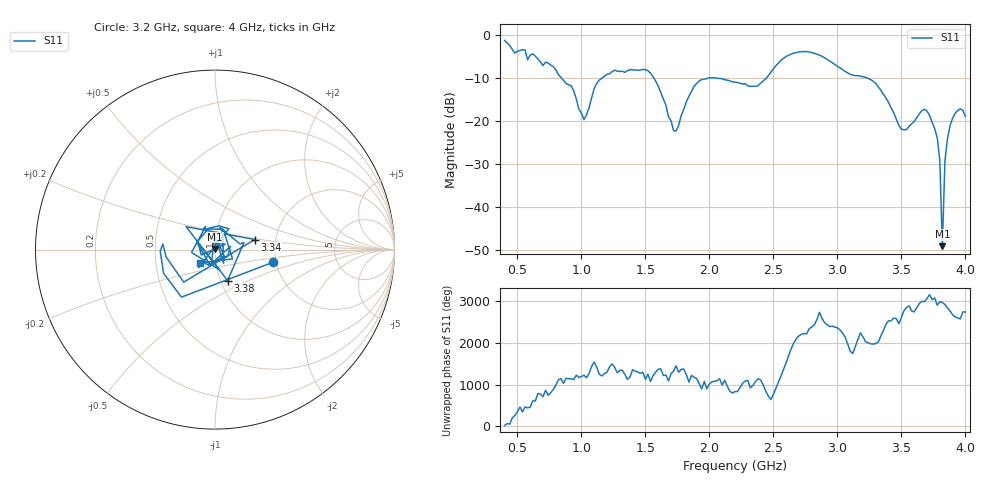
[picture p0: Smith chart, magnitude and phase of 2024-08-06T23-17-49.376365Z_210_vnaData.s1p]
!Created with skrf (http://scikit-rf.org).
# Hz S RI R 50.0
!freq ReS11 ImS11
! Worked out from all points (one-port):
!   181 points, 400 MHz to 4 GHz, reference 50 ohm
!   lowest |S11| = -49.0 dB at 3.82 GHz (marker M1), VSWR 1.01, Z = 50 + j0.354 ohm
!   |S11| at or under -10 dB: 1.567 GHz to 1.987 GHz (419.4 MHz wide, 23.6 % of centre); 2.063 GHz to 2.442 GHz (379.1 MHz wide, 16.8 % of centre); 3.238 GHz to end of sweep (the widest 3 of 4)
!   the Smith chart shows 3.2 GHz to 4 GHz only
!   S11 on the Smith chart (normalised r, x): 3.2 GHz: 1.92, -0.31; 3.34 GHz: 1.56, +0.18; 3.38 GHz: 1.08, -0.39; 4 GHz: 0.84, -0.13
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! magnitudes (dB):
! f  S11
! 400 MHz  -1.2
! 860 MHz  -10.5
! 920 MHz  -11.7
! 1.02 GHz  -19.6
! 1.12 GHz  -11.1
! 1.3 GHz  -8.4
! 1.52 GHz  -8.2
! 1.6 GHz  -11.8
! 1.72 GHz  -22.2
! 1.76 GHz  -20.9
! 1.92 GHz  -10.6
! 2.2 GHz  -10.9
! 2.38 GHz  -11.7
! 2.66 GHz  -4.1
! 3.1 GHz  -9.1
! 3.2 GHz  -9.6
! 3.34 GHz  -12.8
! 3.38 GHz  -14.6
! 3.5 GHz  -21.8
! 3.56 GHz  -21.2
! 3.68 GHz  -17.2
! 3.78 GHz  -23.8
! 3.8 GHz  -28.9
! 3.82 GHz  -49.0
! 3.84 GHz  -29.3
! 3.86 GHz  -24.0
! 3.92 GHz  -18.1
! 4 GHz  -18.8
